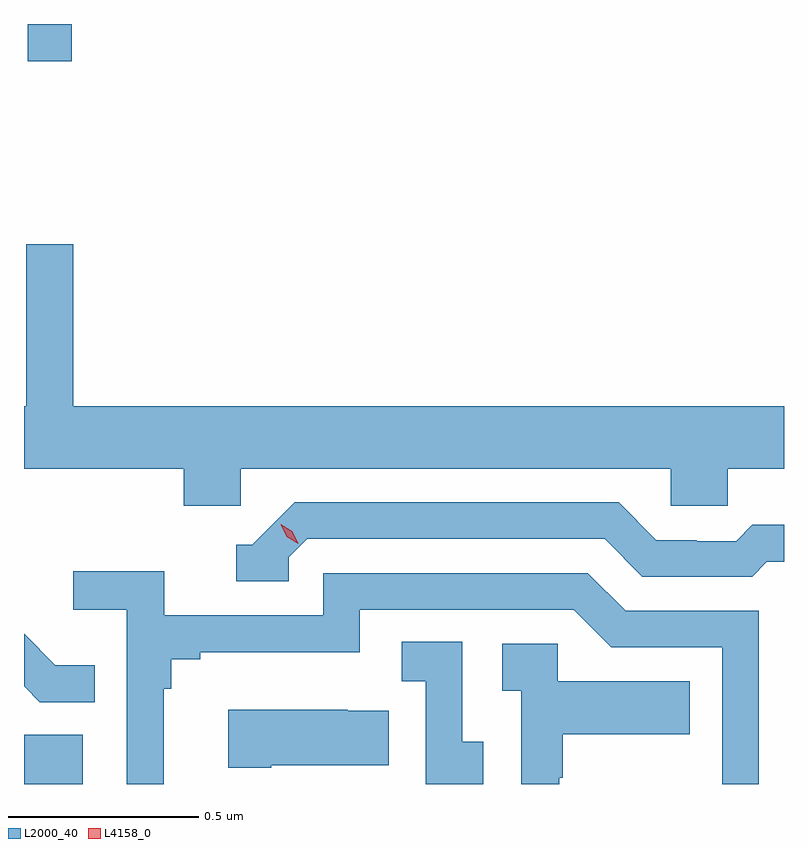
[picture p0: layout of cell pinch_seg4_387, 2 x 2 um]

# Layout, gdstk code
import gdstk
lib = gdstk.Library(unit=1e-6, precision=1e-09)
def R(c, l, rs):  # rectangles x0, y0, x1, y1
    for r in rs: c.add(gdstk.rectangle(r[:2], r[2:], *l))
def P(c, l, *ps):  # polygons
    for p in ps: c.add(gdstk.Polygon(p, *l))
L2000_40 = (2000, 40)
L4158_0 = (4158, 0)

pinch_seg4_387 = lib.new_cell('pinch_seg4_387')
R(pinch_seg4_387, L2000_40, [(993.167,780.006,993.322,780.135), (993.177,781.908,993.293,782.006)])
P(pinch_seg4_387, L2000_40, [(993.738,780.836),(994.869,780.836),(994.869,780.738),(995.019,780.738),(995.019,780.836),(995.167,780.836),(995.167,781),(993.296,781),(993.296,781.426),(993.173,781.426),(993.173,781),(993.167,781),(993.167,780.836),(993.587,780.836),(993.587,780.738),(993.738,780.738)],
  [(993.864,780.603),(993.912,780.651),(994.695,780.651),(994.794,780.552),(995.083,780.552),(995.122,780.591),(995.167,780.591),(995.167,780.688),(995.083,780.688),(995.041,780.645),(994.938,780.645),(994.938,780.648),(994.831,780.648),(994.732,780.747),(993.879,780.747),(993.768,780.636),(993.725,780.636),(993.725,780.54),(993.864,780.54)],
  [(993.535,780.257),(993.554,780.257),(993.554,780.334),(993.631,780.334),(993.631,780.353),(994.05,780.353),(994.05,780.465),(994.614,780.465),(994.713,780.366),(995.004,780.366),(995.004,780.006),(995.1,780.006),(995.1,780.462),(994.75,780.462),(994.651,780.561),(993.954,780.561),(993.954,780.45),(993.536,780.45),(993.536,780.566),(993.297,780.566),(993.297,780.464),(993.438,780.464),(993.438,780.006),(993.535,780.006)],
  [(993.353,780.319),(993.249,780.319),(993.167,780.401),(993.167,780.263),(993.209,780.221),(993.353,780.221)],
  [(994.375,780.117),(994.32,780.117),(994.32,780.38),(994.161,780.38),(994.161,780.277),(994.224,780.277),(994.224,780.006),(994.375,780.006)],
  [(994.575,780.023),(994.585,780.023),(994.585,780.137),(994.919,780.137),(994.919,780.277),(994.572,780.277),(994.572,780.375),(994.425,780.375),(994.425,780.251),(994.476,780.251),(994.476,780.006),(994.575,780.006)],
  [(993.817,780.056),(994.127,780.056),(994.127,780.199),(994.019,780.199),(994.019,780.202),(993.705,780.202),(993.705,780.049),(993.817,780.049)])
P(pinch_seg4_387, L4158_0, [(993.889,780.638),(993.858,780.657),(993.842,780.69),(993.842,780.69),(993.842,780.69),(993.873,780.671),(993.889,780.638),(993.889,780.638)])

lib.write_gds('pinch_seg4_387.gds')
